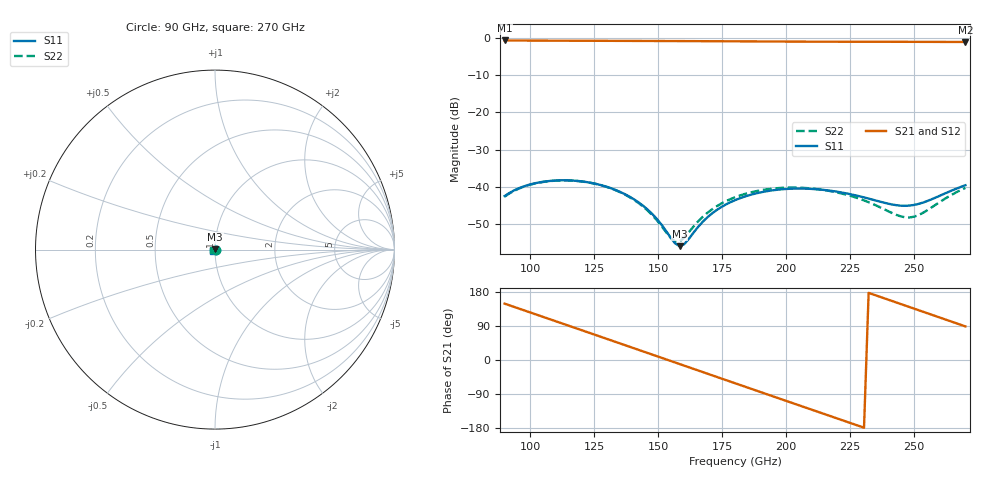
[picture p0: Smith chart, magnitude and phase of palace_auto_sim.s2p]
#  GHZ S DB R 50
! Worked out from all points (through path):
!   101 points, 90 GHz to 270 GHz, reference 50 ohm
!   highest |S21| = -0.68 dB at 90 GHz (marker M1); lowest = -1.1 dB at 270 GHz (marker M2)
!   group delay of S21, straight-line fit = 6.48 ps
!   lowest |S11| = -55.9 dB at 158.4 GHz (marker M3), VSWR 1.00, Z = 50.1 + j0.133 ohm
!   |S11| at or under -10 dB: start of sweep to end of sweep
!   |S22| runs from -54.6 to -38.2 dB; largest |S21 - S12| = 1.1e-14
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90  -42.45 -14.3  -0.68 148.8  -0.68 148.8  -42.61 -14.4
97.2  -39.91 -37.1  -0.71 132.0  -0.71 132.0  -40.00 -37.4
106.2  -38.50 -62.5  -0.73 111.0  -0.73 111.0  -38.54 -62.9
113.4  -38.21 -82.6  -0.75 94.3  -0.75 94.3  -38.24 -83.1
120.6  -38.54 -103.7  -0.77 77.5  -0.77 77.5  -38.57 -104.2
129.6  -39.89 -131.8  -0.78 56.5  -0.78 56.5  -39.94 -132.4
138.6  -42.52 -162.9  -0.80 35.5  -0.80 35.5  -42.64 -163.9
145.8  -46.02 167.7  -0.82 18.7  -0.82 18.7  -46.28 165.5
151.2  -50.04 138.0  -0.83 6.1  -0.83 6.1  -50.41 132.9
154.8  -53.53 107.0  -0.84 -2.4  -0.84 -2.4  -53.61 97.2
158.4  -55.89 56.0  -0.85 -10.8  -0.85 -10.8  -54.60 45.1
169.2  -48.15 -49.3  -0.88 -36.0  -0.88 -36.0  -46.95 -46.8
180  -43.54 -98.9  -0.91 -61.3  -0.91 -61.3  -42.76 -94.7
194.4  -40.93 -156.6  -0.96 -94.9  -0.96 -94.9  -40.46 -150.7
201.6  -40.48 175.7  -0.99 -111.6  -0.99 -111.6  -40.16 -177.6
210.6  -40.55 141.8  -1.01 -132.6  -1.01 -132.6  -40.45 149.7
219.6  -41.25 108.3  -1.02 -153.5  -1.02 -153.5  -41.44 117.7
226.8  -42.21 80.3  -1.03 -170.3  -1.03 -170.3  -42.75 91.2
241.2  -44.68 11.2  -1.04 156.1  -1.04 156.1  -46.94 21.9
250.2  -44.79 -46.0  -1.05 135.0  -1.05 135.0  -47.93 -48.2
261  -42.05 -108.5  -1.07 109.7  -1.07 109.7  -43.60 -119.7
270  -39.54 -148.2  -1.09 88.6  -1.09 88.6  -40.26 -158.8
